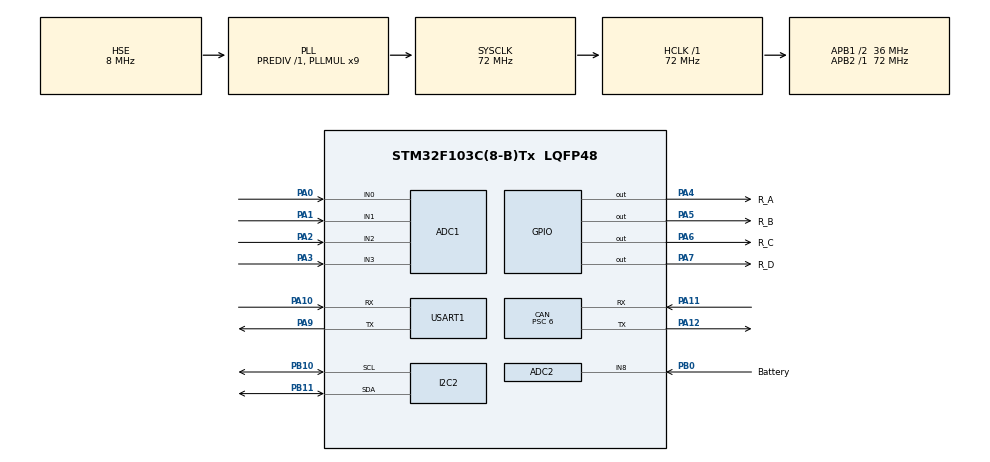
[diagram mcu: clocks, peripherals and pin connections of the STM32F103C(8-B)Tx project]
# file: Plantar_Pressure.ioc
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ADC1.Channel-0\#ChannelRegularConversion=ADC_CHANNEL_0
ADC1.Channel-1\#ChannelRegularConversion=ADC_CHANNEL_1
ADC1.Channel-2\#ChannelRegularConversion=ADC_CHANNEL_2
ADC1.Channel-3\#ChannelRegularConversion=ADC_CHANNEL_3
ADC1.NbrOfConversion=4
ADC1.NbrOfConversionFlag=1
ADC1.Rank-0\#ChannelRegularConversion=1
ADC1.Rank-1\#ChannelRegularConversion=2
ADC1.Rank-2\#ChannelRegularConversion=3
ADC1.Rank-3\#ChannelRegularConversion=4
ADC1.SamplingTime-0\#ChannelRegularConversion=ADC_SAMPLETIME_7CYCLES_5
ADC1.SamplingTime-1\#ChannelRegularConversion=ADC_SAMPLETIME_7CYCLES_5
ADC1.SamplingTime-2\#ChannelRegularConversion=ADC_SAMPLETIME_7CYCLES_5
ADC1.SamplingTime-3\#ChannelRegularConversion=ADC_SAMPLETIME_7CYCLES_5
ADC1.master=1
ADC2.Channel-1\#ChannelRegularConversion=ADC_CHANNEL_8
ADC2.NbrOfConversionFlag=1
ADC2.Rank-1\#ChannelRegularConversion=1
ADC2.SamplingTime-1\#ChannelRegularConversion=ADC_SAMPLETIME_7CYCLES_5
CAN.BS1=CAN_BS1_5TQ
CAN.BS2=CAN_BS2_6TQ
CAN.CalculateBaudRate=499999
CAN.CalculateTimeBit=2000
CAN.CalculateTimeQuantum=166.66666666666669
CAN.Prescaler=6
Dma.ADC1.0.Direction=DMA_PERIPH_TO_MEMORY
Dma.ADC1.0.Instance=DMA1_Channel1
Dma.ADC1.0.MemDataAlignment=DMA_MDATAALIGN_HALFWORD
Dma.ADC1.0.MemInc=DMA_MINC_ENABLE
Dma.ADC1.0.Mode=DMA_CIRCULAR
Dma.ADC1.0.PeriphDataAlignment=DMA_PDATAALIGN_HALFWORD
Dma.ADC1.0.PeriphInc=DMA_PINC_DISABLE
Dma.ADC1.0.Priority=DMA_PRIORITY_HIGH
Dma.Request0=ADC1
I2C2.I2C_Mode=I2C_Fast
Mcu.Family=STM32F1
Mcu.Name=STM32F103C(8-B)Tx
Mcu.Package=LQFP48
NVIC.DMA1_Channel1_IRQn=true\:0\:0\:false\:false\:true\:false\:true
NVIC.PriorityGroup=NVIC_PRIORITYGROUP_4
NVIC.TIM1_UP_IRQn=true\:0\:0\:true\:false\:true\:true\:true
NVIC.TIM2_IRQn=true\:0\:0\:false\:false\:true\:true\:true
NVIC.USART1_IRQn=true\:1\:0\:true\:false\:true\:true\:true
NVIC.USB_LP_CAN1_RX0_IRQn=true\:0\:0\:false\:false\:true\:true\:true
PA0-WKUP.Signal=ADCx_IN0
PA1.Signal=ADCx_IN1
PA10.Mode=Asynchronous
PA10.Signal=USART1_RX
PA11.Mode=CAN_Activate
PA11.Signal=CAN_RX
PA12.Mode=CAN_Activate
PA12.Signal=CAN_TX
PA13.Mode=Serial_Wire
PA13.Signal=SYS_JTMS-SWDIO
PA14.Mode=Serial_Wire
PA14.Signal=SYS_JTCK-SWCLK
PA2.Signal=ADCx_IN2
PA3.Signal=ADCx_IN3
PA4.GPIO_Label=R_A
PA4.Signal=GPIO_Output
PA5.GPIO_Label=R_B
PA5.Signal=GPIO_Output
PA6.GPIO_Label=R_C
PA6.Signal=GPIO_Output
PA7.GPIO_Label=R_D
PA7.Signal=GPIO_Output
PA9.Mode=Asynchronous
PA9.Signal=USART1_TX
PB0.GPIO_Label=Battery
PB0.Signal=ADCx_IN8
PB10.Mode=I2C
PB10.Signal=I2C2_SCL
PB11.Mode=I2C
PB11.Signal=I2C2_SDA
PD0-OSC_IN.Mode=HSE-External-Oscillator
PD0-OSC_IN.Signal=RCC_OSC_IN
PD1-OSC_OUT.Mode=HSE-External-Oscillator
PD1-OSC_OUT.Signal=RCC_OSC_OUT
ProjectManager.HeapSize=0x200
ProjectManager.StackSize=0x400
ProjectManager.TargetToolchain=MDK-ARM V5
RCC.ADCPresc=RCC_ADCPCLK2_DIV6
RCC.AHBFreq_Value=72000000
RCC.APB1CLKDivider=RCC_HCLK_DIV2
RCC.APB1Freq_Value=36000000
RCC.APB1TimFreq_Value=72000000
RCC.APB2Freq_Value=72000000
RCC.APB2TimFreq_Value=72000000
RCC.HCLKFreq_Value=72000000
RCC.PLLMUL=RCC_PLL_MUL9
RCC.PLLSourceVirtual=RCC_PLLSOURCE_HSE
RCC.SYSCLKFreq_VALUE=72000000
RCC.SYSCLKSource=RCC_SYSCLKSOURCE_PLLCLK
RCC.USBFreq_Value=72000000
SH.ADCx_IN0.0=ADC1_IN0,IN0
SH.ADCx_IN1.0=ADC1_IN1,IN1
SH.ADCx_IN2.0=ADC1_IN2,IN2
SH.ADCx_IN3.0=ADC1_IN3,IN3
SH.ADCx_IN8.0=ADC2_IN8,IN8
TIM1.Period=10000-1
TIM1.Prescaler=7200-1
TIM2.Period=10000-1
TIM2.Prescaler=7200-1
USART1.VirtualMode=VM_ASYNC
VP_TIM1_VS_ClockSourceINT.Mode=Internal
VP_TIM2_VS_ClockSourceINT.Mode=Internal
board=custom

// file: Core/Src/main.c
/* USER CODE BEGIN Header */
/**
  ******************************************************************************
  * @file           : main.c
  * @brief          : Main program body
  ******************************************************************************
  * @attention
  *
  * Copyright (c) 2022 STMicroelectronics.
  * All rights reserved.
  *
  * This software is licensed under terms that can be found in the LICENSE file
  * in the root directory of this software component.
  * If no LICENSE file comes with this software, it is provided AS-IS.
  *
  ******************************************************************************
  */
/* USER CODE END Header */
#include "main.h"
#include "adc.h"
#include "can.h"
#include "dma.h"
#include "i2c.h"
#include "tim.h"
#include "usart.h"
#include "gpio.h"

/* USER CODE BEGIN Includes */
#include "mpu6050.h"
#include "inv_mpu.h"
#include "inv_mpu_dmp_motion_driver.h"
/* USER CODE END Includes */

/* USER CODE BEGIN PV */
volatile float pitch,roll,yaw;//欧拉角
uint8_t uart_buf_imu[6*4];//串口发送陀螺仪数据容器

uint16_t Battery;//电池电压值
uint8_t uart_buf_bat[2];//串口发送电池电压容器

uint16_t ADC_ConvertedValue[4];//DMA存储数据的容器
uint16_t Voltage;//阵列传感器的数据
uint16_t VoltageS[12][4];//阵列传感器的数据
uint8_t Row_list[4] = {0, 1, 2, 3};//列顺序
//******************{6,7,5,8,4,9,3, 10,2, 11,1, 12}
//******************{7,6,8,5,9,4,11,1, 10,2, 13,3}
//******************{6,5,7,4,8,3,10,0, 9, 1, 12,2}
uint8_t Row_A[12] = {0,0,0,0,1,0,1, 0, 1, 0, 1, 0};
uint8_t Row_B[12] = {1,1,1,1,0,0,0, 0, 0, 0, 1, 0};
uint8_t Row_C[12] = {1,0,1,0,0,1,1, 0, 0, 0, 0, 1};
uint8_t Row_D[12] = {0,1,1,0,0,1,0, 0, 1, 1, 0, 0};//1~12
uint8_t uart_buf_v[96];//串口发送阵列电压容器

static CAN_TxHeaderTypeDef        TxMessage;    //CAN发送的消息的消息头
static CAN_RxHeaderTypeDef        RxMessage;    //CAN接收的消息的消息头

extern uint8_t RxBuffer[8];//接收上位机串口数据的缓冲器

uint8_t OrderBuffer[8] = {0x01, 0x02, 0x03, 0x04, 0x05, 0x06, 0x07, 0x08};//设备与上位机之间的命令
uint8_t canOrderBuffer[9] = {0x01, 0x02, 0x03, 0xB1, 0xB2, 0xB3, 0xC1, 0xC2, 0xC3};//主机与从机之间的命令

uint8_t linkOK = 0;//请求连接同意标志位
uint8_t Modes = 0;//发送数据模式，0：电池/停止发送，2：足底+电池，3：角度+电池，4：足底+角度+电池

uint8_t uart_send_buf[130];//数据发送缓冲器

uint8_t up_bat_ones = 1;//读取电池数据间隔时间设置位
uint8_t times_bat;//读取电池数据间隔时间设置位
uint8_t times_up_bat;//读取电池数据间隔时间设置位
uint8_t times_req;//循环发送请求时间间隔设置位

uint8_t toe_slave = 0;//足尖从机在不在的标志位
uint8_t knee_slave = 0;//足尖从机在不在的标志位
uint8_t hip_slave = 0;//足尖从机在不在的标志位

uint8_t slavers_mode = 0;//足尖从机在不在的标志位

uint8_t order_or_data = 0;//主机接收的是命令还是数据

uint8_t imu_collect_over = 0;//从机数据采集结束标志

uint8_t receive_data_over = 0;//从机数据采集结束标志

uint8_t data_test[8];
/* USER CODE END PV */

void SystemClock_Config(void);
/* USER CODE BEGIN PFP */
void usart1_niming_report(uint8_t fun, uint8_t *data, uint8_t len);
void mpu6050_send_data(short roll, short pitch, short yaw);
void Get_Battery(void);
void Get_DMA_ADC1(void);
void delay_us(uint32_t us);
void MPU6050_Get_Data(void);
static void CANFilter_Config(void);
void CAN_Send(uint8_t orderD);
void Upload_Battery(uint8_t *data, uint8_t len);
void Upload_Order(uint8_t data);
void Upload_Data(uint8_t *data, uint8_t len);
void ask_Slavers();
void ask_IPC_Link();
/* USER CODE END PFP */

int main(void)
{

  /* MCU Configuration--------------------------------------------------------*/

  /* Reset of all peripherals, Initializes the Flash interface and the Systick. */
  HAL_Init();

  /* Configure the system clock */
  SystemClock_Config();

  /* USER CODE BEGIN SysInit */
	HAL_Delay(500);//软件上电延时，避免ESP上电时对串口中断的影响
  /* USER CODE END SysInit */

  /* Initialize all configured peripherals */
  MX_GPIO_Init();
  MX_USART1_UART_Init();
  MX_DMA_Init();
  MX_ADC1_Init();
  MX_I2C2_Init();
  MX_ADC2_Init();
  MX_TIM1_Init();
  MX_CAN_Init();
  MX_TIM2_Init();
  /* USER CODE BEGIN 2 */
	/* 1. CAN Filter Config */
	CANFilter_Config();
	/* 2. CAN Start */
	if(HAL_CAN_Start(&hcan) != HAL_OK)
	{
		Error_Handler();
	}
  /* 3. Enable CAN RX Interrupt */
	if(HAL_CAN_ActivateNotification(&hcan, CAN_IT_RX_FIFO0_MSG_PENDING) != HAL_OK)
	{
		Error_Handler();
	}

	MPU_Init();//初始化MPU6050
	while(mpu_dmp_init())
	{
	}//等待mpu_dmp初始化

	ask_Slavers();//查询从机的连接情况

	ask_IPC_Link();//向上位机发送请求连接命令

	Get_Battery();//读取电池电压

	uint8_t i;//定义for循环变量
  /* USER CODE END 2 */

  /* Infinite loop */
  /* USER CODE BEGIN WHILE */
  while (1)
  {
		while(!linkOK){times_bat = 0;}//等待连接同意

		if(up_bat_ones)//同意连接后发送一次电池电压
		{
			Upload_Battery(uart_buf_bat, 2);
			up_bat_ones = 0;
		}

		switch(Modes)//选择发送模式
		{
			case 2:
				Get_DMA_ADC1();
				Upload_Data(uart_buf_v, 96);
				break;
			case 3:
				if(toe_slave)//如果从机1在
				{
					CAN_Send(canOrderBuffer[6]);//让从机1发送采集结束标志
				}
				else if(knee_slave)//如果从机1不在，从机2在
				{
					CAN_Send(canOrderBuffer[7]);//让从机2发送采集结束标志
				}
				else if(hip_slave)//如果从机1、2不在，从机3在
				{
					CAN_Send(canOrderBuffer[8]);//让从机3发送采集结束标志
				}
				else//如果没有从机连接
				{
					receive_data_over = 1;
				}
				MPU6050_Get_Data();
//				while(!receive_data_over){}//等待从机数据传输完成
				Upload_Data(uart_buf_imu, 6*4);
				receive_data_over = 0;
				break;
			case 4:
				Get_DMA_ADC1();
				if(toe_slave)//如果从机1在
				{
					CAN_Send(canOrderBuffer[6]);//让从机1发送采集结束标志
				}
				else if(knee_slave)//如果从机1不在，从机2在
				{
					CAN_Send(canOrderBuffer[7]);//让从机2发送采集结束标志
				}
				else if(hip_slave)//如果从机1、2不在，从机3在
				{
					CAN_Send(canOrderBuffer[8]);//让从机3发送采集结束标志
				}
				else//如果没有从机连接
				{
					receive_data_over = 1;
				}
				MPU6050_Get_Data();
				while(!receive_data_over){}//等待从机数据传输完成
				for(i=0; i<96; i++)
				{
					uart_send_buf[i] = uart_buf_v[i];
				}
				for(i=0; i<6*4; i++)
				{
					uart_send_buf[96+i] = uart_buf_imu[i];
				}
				Upload_Data(uart_send_buf, 120);
				break;
		}

		if(times_up_bat == 6)//每隔一分钟上传一次电池电压
		{
			Battery = (uint16_t)(Battery/6.0);//对一分钟内采集的六次电压取平均值
			uart_buf_bat[0] = Battery>>8;//数据高位
			uart_buf_bat[1] = Battery&0xff;//数据低位
			Upload_Battery(uart_buf_bat, 2);
			times_up_bat = 0;
		}

//		Upload_Order(OrderBuffer[0]);
//		HAL_Delay(100);
    /* USER CODE END WHILE */

  }
}

void SystemClock_Config(void)
{
  RCC_OscInitTypeDef RCC_OscInitStruct = {0};
  RCC_ClkInitTypeDef RCC_ClkInitStruct = {0};
  RCC_PeriphCLKInitTypeDef PeriphClkInit = {0};

  /** Initializes the RCC Oscillators according to the specified parameters
  * in the RCC_OscInitTypeDef structure.
  */
  RCC_OscInitStruct.OscillatorType = RCC_OSCILLATORTYPE_HSE;
  RCC_OscInitStruct.HSEState = RCC_HSE_ON;
  RCC_OscInitStruct.HSEPredivValue = RCC_HSE_PREDIV_DIV1;
  RCC_OscInitStruct.HSIState = RCC_HSI_ON;
  RCC_OscInitStruct.PLL.PLLState = RCC_PLL_ON;
  RCC_OscInitStruct.PLL.PLLSource = RCC_PLLSOURCE_HSE;
  RCC_OscInitStruct.PLL.PLLMUL = RCC_PLL_MUL9;
  if (HAL_RCC_OscConfig(&RCC_OscInitStruct) != HAL_OK)
  {
    Error_Handler();
  }
  /** Initializes the CPU, AHB and APB buses clocks
  */
  RCC_ClkInitStruct.ClockType = RCC_CLOCKTYPE_HCLK|RCC_CLOCKTYPE_SYSCLK
                              |RCC_CLOCKTYPE_PCLK1|RCC_CLOCKTYPE_PCLK2;
  RCC_ClkInitStruct.SYSCLKSource = RCC_SYSCLKSOURCE_PLLCLK;
  RCC_ClkInitStruct.AHBCLKDivider = RCC_SYSCLK_DIV1;
  RCC_ClkInitStruct.APB1CLKDivider = RCC_HCLK_DIV2;
  RCC_ClkInitStruct.APB2CLKDivider = RCC_HCLK_DIV1;

  if (HAL_RCC_ClockConfig(&RCC_ClkInitStruct, FLASH_LATENCY_2) != HAL_OK)
  {
    Error_Handler();
  }
  PeriphClkInit.PeriphClockSelection = RCC_PERIPHCLK_ADC;
  PeriphClkInit.AdcClockSelection = RCC_ADCPCLK2_DIV6;
  if (HAL_RCCEx_PeriphCLKConfig(&PeriphClkInit) != HAL_OK)
  {
    Error_Handler();
  }
}

/* USER CODE BEGIN 4 */
/**
  * @brief 传送数据给匿名四轴上位机软件(V2.6版本)
  * @retval None
	* @fun 功能字. 0XA0~0XAF
	* @data 数据缓存区,最多28字节!!
	* @len data区有效数据个数
	*/
void usart1_niming_report(uint8_t fun, uint8_t *data, uint8_t len)
{
	uint8_t send_buf[32];
	uint8_t imu_data[1];
	uint8_t i;
	if(len>28)return;	//最多28字节数据
	send_buf[len+3]=0;	//校验数置零
	send_buf[0]=0X88;	//帧头
	send_buf[1]=fun;	//功能字
	send_buf[2]=len;	//数据长度
	for(i=0;i<len;i++)send_buf[3+i]=data[i];			//复制数据
	for(i=0;i<len+3;i++)send_buf[len+3]+=send_buf[i];	//计算校验和
	for(i=0;i<len+4;i++)
	{
		imu_data[0] = send_buf[i];
		HAL_UART_Transmit(&huart1, imu_data, 1, 2);
	}
}

/**
	*@brief 通过串口1上报结算后的姿态数据给电脑
	*@roll 横滚角.单位0.01度。 -18000 -> 18000 对应 -180.00  ->  180.00度
	*@pitch 俯仰角.单位 0.01度。-9000 - 9000 对应 -90.00 -> 90.00 度
	*@yaw 航向角.单位为0.1度 0 -> 3600  对应 0 -> 360.0度
	*/
void mpu6050_send_data(short roll, short pitch, short yaw)
{
	uint8_t tbuf[6];

	tbuf[0]=(roll>>8)&0XFF;
	tbuf[1]=roll&0XFF;
	tbuf[2]=(pitch>>8)&0XFF;
	tbuf[3]=pitch&0XFF;
	tbuf[4]=(yaw>>8)&0XFF;
	tbuf[5]=yaw&0XFF;

	usart1_niming_report(0XA1,tbuf,6);//自定义帧,0XA1
}

/**
	*@brief 通过ADC2读取电池电压值
  * @retval None
	*/
void Get_Battery(void)
{
	uint16_t Battery_buf = 0;//电池电压值
	HAL_ADC_Start(&hadc2);//启动ADC转换
	HAL_ADC_PollForConversion(&hadc2, 1);//等待转换完成，第二个参数表示超时时间，单位ms.
	if(HAL_IS_BIT_SET(HAL_ADC_GetState(&hadc2), HAL_ADC_STATE_REG_EOC))
	{
		Battery_buf = HAL_ADC_GetValue(&hadc2);//读取ADC转换数据，数据为12位
		Battery_buf = (float)Battery_buf*(3.310/4096)*1000;
		Battery_buf = Battery_buf*4.0+200;

		uart_buf_bat[0] = Battery_buf>>8;//数据高位
		uart_buf_bat[1] = Battery_buf&0xff;//数据低位
	}
}

/**
	*@brief 通过ADC1读取读取DMA_AD值
  * @retval None
	*/
void Get_DMA_ADC1(void)
{
	uint8_t r,i,m;

	for(r=0; r<12; r++)//行
	{
		HAL_GPIO_WritePin(GPIOA, R_A_Pin, Row_A[r]);
		HAL_GPIO_WritePin(GPIOA, R_B_Pin, Row_B[r]);
		HAL_GPIO_WritePin(GPIOA, R_C_Pin, Row_C[r]);
		HAL_GPIO_WritePin(GPIOA, R_D_Pin, Row_D[r]);
		delay_us(50);
		HAL_ADC_Start_DMA(&hadc1, (uint32_t*)&ADC_ConvertedValue, 4);
		delay_us(50);
		for(i=0;i<4;i++)
		{
			m = Row_list[i];//列顺序
			Voltage = (uint16_t)((float)ADC_ConvertedValue[i]/4096*3.310*1000)%10000;
			VoltageS[r][m] = Voltage;

			uart_buf_v[r*8+2*m] = Voltage>>8;//数据高位
			uart_buf_v[r*8+2*m+1] = Voltage&0xff;//数据低位
		}
	}
}

/**
	*@brief 延时函数（单位us）
  * @retval None
	*/
void delay_us(uint32_t us)
{
    uint32_t delay = (HAL_RCC_GetHCLKFreq() / 4000000 * us);
    while (delay--)
	{
		;
	}
}

/**
	*@brief 陀螺仪数据读取
  * @retval None
	*/
void MPU6050_Get_Data(void)
{
	while(mpu_dmp_get_data(&pitch,&roll,&yaw)!=0){ }

	uart_buf_imu[0]=(short)pitch>>8;
	uart_buf_imu[1]=(short)pitch&0XFF;
	uart_buf_imu[2]=(short)roll>>8;
	uart_buf_imu[3]=(short)roll&0XFF;
	uart_buf_imu[4]=(short)yaw>>8;
	uart_buf_imu[5]=(short)yaw&0XFF;
}

/**
  * @brief CAN过滤器配置函数（掩码全为零，不进行过滤）
  * @retval None
  */
static void CANFilter_Config(void)
{
    CAN_FilterTypeDef  sFilterConfig;
		uint32_t StdId1 = 0x121;//从机1地址
	  uint32_t StdId2 = 0x122;//从机2地址
	  uint32_t StdId3 = 0x123;//从机3地址

    sFilterConfig.FilterBank = 0;                       //CAN过滤器编号，过滤器0
    sFilterConfig.FilterMode = CAN_FILTERMODE_IDLIST;   //CAN过滤器模式，列表模式
    sFilterConfig.FilterScale = CAN_FILTERSCALE_16BIT;  //CAN过滤器尺度，16位
    sFilterConfig.FilterIdHigh = StdId1 << 5;			      //16位下，存储第一个从机的ID
    sFilterConfig.FilterIdLow = StdId2 << 5;					  //16位下，存储第二个从机的ID
    sFilterConfig.FilterMaskIdHigh = StdId3 << 5;			  //16位下，存储第三个从机的ID
    sFilterConfig.FilterMaskIdLow = 0x0000;
    sFilterConfig.FilterFIFOAssignment = 0;				      //报文通过过滤器的匹配后，存储到哪个FIFO
    sFilterConfig.FilterActivation = ENABLE;    		    //激活过滤器
    sFilterConfig.SlaveStartFilterBank = 0;

    if (HAL_CAN_ConfigFilter(&hcan, &sFilterConfig) != HAL_OK) {
        Error_Handler();
    }
}

/**
  * @brief CAN发送数据函数
  * @retval None
  */
void CAN_Send(uint8_t orderD)
{
	uint8_t dataO[1];
	dataO[0] = orderD;

	uint32_t TxMailbox;
	TxMessage.IDE = CAN_ID_STD;     //设置ID类型，标准模式
	TxMessage.StdId = 0x111;        //设置ID号，标识符，可进行过滤
	TxMessage.RTR = CAN_RTR_DATA;   //设置传送数据帧
	TxMessage.DLC = 1;              //设置数据长度

	if (HAL_CAN_AddTxMessage(&hcan, &TxMessage, dataO, &TxMailbox) != HAL_OK)
	{
		Error_Handler();
  }
}

/**
  * @brief CAN接收中断处理函数
  * @retval None
  */
void HAL_CAN_RxFifo0MsgPendingCallback(CAN_HandleTypeDef *hcan)
{
	uint8_t i;
	uint8_t  data[8];
	uint8_t  data_uart[1];

	if(HAL_CAN_GetRxMessage(hcan, CAN_RX_FIFO0, &RxMessage, data) == HAL_OK)
	{
		if(!order_or_data)
		{
			switch(data[0])
			{
				case 0xA1:
					toe_slave = 1;
					break;
				case 0xA2:
					knee_slave = 1;
					break;
				case 0xA3:
					hip_slave = 1;
					break;
				case 0xA4:
					imu_collect_over = 1;
					if(toe_slave)//如果从机1在
					{
						CAN_Send(canOrderBuffer[3]);//让从机1发送数据
					}
					else if(knee_slave)//如果从机1不在，从机2在
					{
						CAN_Send(canOrderBuffer[4]);//让从机2发送数据
					}
					else//如果从机1、2不在，从机3在
					{
						CAN_Send(canOrderBuffer[5]);//让从机3发送数据
					}
					order_or_data = 1;//命令传输结束
					break;
			}
		}
		else
		{
			switch(RxMessage.StdId)
			{
				case 0x121://从机1，足尖
					for(i=0; i<6; i++)
					{
						uart_buf_imu[6+i] = data[i];
					}
					if(knee_slave)//从机2在
					{
						CAN_Send(canOrderBuffer[4]);//让从机2发送数据
					}
					else if(hip_slave)//从机2不在，从机3存在
					{
						CAN_Send(canOrderBuffer[5]);//让从机3发送数据
					}
					else//从机2、3不在，则数据传输结束
					{
						receive_data_over = 1;//从机数据传输结束标志位置1
						order_or_data = 0;//数据传输结束
					}
					break;
				case 0x122://从机2，膝关节
					for(i=0; i<6; i++)
					{
						uart_buf_imu[6*2+i] = data[i];
					}
					if(hip_slave)//如果从机3存在
					{
						CAN_Send(canOrderBuffer[5]);//让从机3发送数据
					}
					else//从机3不在，则数据传输结束
					{
						receive_data_over = 1;//从机数据传输结束标志位置1
						order_or_data = 0;//数据传输结束
					}
					break;
				case 0x123://从机3，髋关节
					for(i=0; i<6; i++)
					{
						uart_buf_imu[6*3+i] = data[i];
					}
					receive_data_over = 1;//从机数据传输结束标志位置1
					order_or_data = 0;//数据传输结束
					break;
			}
		}
	}
}

/**
  * @brief 串口接收中断处理函数
  * @retval None
  */
void HAL_UART_RxCpltCallback(UART_HandleTypeDef *huart)
{
	if(huart -> Instance == USART1)
	{
		if(RxBuffer[0] == 0XF1)//接收到同意连接命令
		{
			linkOK = 1;
		}
		if(RxBuffer[0] == 0XF2)//接收到发送足底+电池数据命令
		{
			Modes = 2;
		}
		if(RxBuffer[0] == 0XF3)//接收到发送角度+电池数据命令
		{
			Modes = 3;
		}
		if(RxBuffer[0] == 0XF4)//接收到发送足底+角度+电池数据命令
		{
			Modes = 4;
		}
		if(RxBuffer[0] == 0XF5)//接收到停止发送命令
		{
			Modes = 0;
		}
	}
	HAL_UART_Receive_IT(&huart1, RxBuffer, 1);
}

/**
  * @brief 上传电池电压
  * @retval None
	* @data 数据缓存区
	* @len data区有效数据个数
	*/
void Upload_Battery(uint8_t *data, uint8_t len)
{
	uint8_t send_buf[8] = {0};
	uint8_t send_data[2] = {0};
	uint8_t i;

	send_buf[6]=0; //校验数置零

	send_buf[0]=0X88;	 //帧头*************0
	send_buf[1]=0XFF;	 //帧头*************1
	send_buf[2]=0XA1;	 //功能字***********2
	send_buf[3]=2;	   //数据长度*********3

	for(i=0;i<len;i++)send_buf[4+i]=data[i];			    //复制数据
	for(i=0;i<len+4;i++)send_buf[len+4]+=send_buf[i];	//计算校验和

	for(i=0;i<(len+6)/2;i++)
	{
		send_data[0] = send_buf[2*i];
		send_data[1] = send_buf[2*i+1];
		HAL_UART_Transmit(&huart1, send_data, 2, 1);
	}
}

/**
  * @brief 命令上传上位机
  * @retval None
	* @data 数据缓存区
	* @len data区有效数据个数
	*/
void Upload_Order(uint8_t data)
{
	uint8_t send_buf[10] = {0};
	uint8_t i;

	send_buf[5]=0; //校验数置零

	send_buf[0]=0X88;	 //帧头*************0
	send_buf[1]=0XFF;	 //帧头*************1
	send_buf[2]=0XA0;	 //功能字***********2
	send_buf[3]=1;	   //数据长度*********3

	send_buf[4]=data;			    //复制数据
	for(i=0;i<5;i++)send_buf[5]+=send_buf[i];	//计算校验和

	HAL_UART_Transmit(&huart1, send_buf, 6, 1);
}

/**
  * @brief 数据上传上位机
  * @retval None
	* @data 数据缓存区
	* @len data区有效数据个数
	*/
void Upload_Data(uint8_t *data, uint8_t len)
{
	uint8_t send_buf[130] = {0};
	uint8_t send_data[2] = {0};
	uint8_t i;

	send_buf[0]=0X88;	 //帧头*************0
	send_buf[1]=0XFF;	 //帧头*************1
	send_buf[2]=0XAF;	 //功能字***********2
	send_buf[3]=len;	 //数据长度*********3

	for(i=0;i<len;i++)send_buf[4+i]=data[i];			    //复制数据
	for(i=0;i<len+4;i++)send_buf[len+4]+=send_buf[i];	//计算校验和

	for(i=0;i<(len+6)/2;i++)
	{
		send_data[0] = send_buf[2*i];
		send_data[1] = send_buf[2*i+1];
		HAL_UART_Transmit(&huart1, send_data, 2, 1);
	}
}

/**
  * @brief 定时器中断处理函数
  * @retval None
  */
void HAL_TIM_PeriodElapsedCallback(TIM_HandleTypeDef *htim)
{
	if(htim == &htim1)
	{
		times_bat++;

		if(times_bat == 10)//每10s读取一次电池电压
		{
			uint16_t Battery_buf_tim = 0;//电池电压值
			times_up_bat++;

			HAL_ADC_Start(&hadc2);//启动ADC装换
			HAL_ADC_PollForConversion(&hadc2, 1);//等待转换完成，第二个参数表示超时时间，单位ms.
			if(HAL_IS_BIT_SET(HAL_ADC_GetState(&hadc2), HAL_ADC_STATE_REG_EOC))
			{
				Battery_buf_tim = HAL_ADC_GetValue(&hadc2);//读取ADC转换数据，数据为12位
				Battery_buf_tim = (float)Battery_buf_tim*(3.310/4096)*1000;
				Battery_buf_tim = Battery_buf_tim*4.0+200;

				Battery = Battery+Battery_buf_tim;
			}
			times_bat = 0;
		}
	}

	if(htim == &htim2)
	{
		times_req++;

		if(linkOK)
		{
			HAL_TIM_Base_Stop_IT(&htim2);
		}

		if((times_req==2)&(!linkOK))//每2s发送一次请求
		{
			ask_IPC_Link();//发送请求连接命令
			times_req = 0;
		}
	}
}

/**
  * @brief 查询从机的连接情况，有几个从机连接,从机连接组合方式
  * @retval None
  */
void ask_Slavers()
{
	CAN_Send(canOrderBuffer[0]);//询问从机1
	HAL_Delay(10);//等待从机1的回答
	CAN_Send(canOrderBuffer[1]);//询问从机2
	HAL_Delay(10);//等待从机2的回答
	CAN_Send(canOrderBuffer[2]);//询问从机3
	HAL_Delay(10);//等待从机3的回答

	slavers_mode = toe_slave + knee_slave*10 + hip_slave*100;//计算从机连接情况
}

/**
  * @brief 向上位机发送请求连接命令
  * @retval None
  */
void ask_IPC_Link()
{
	switch(slavers_mode)
	{
		case 0:
			Upload_Order(OrderBuffer[0]);
			break;
		case 1:
			Upload_Order(OrderBuffer[1]);
			break;
		case 10:
			Upload_Order(OrderBuffer[5]);
			break;
		case 11:
			Upload_Order(OrderBuffer[2]);
			break;
		case 100:
			Upload_Order(OrderBuffer[7]);
			break;
		case 101:
			Upload_Order(OrderBuffer[3]);
			break;
		case 110:
			Upload_Order(OrderBuffer[6]);
			break;
		case 111:
			Upload_Order(OrderBuffer[4]);
			break;
	}
}
/* USER CODE END 4 */

void Error_Handler(void)
{
  __disable_irq();
  while (1)
  {
  }
}
